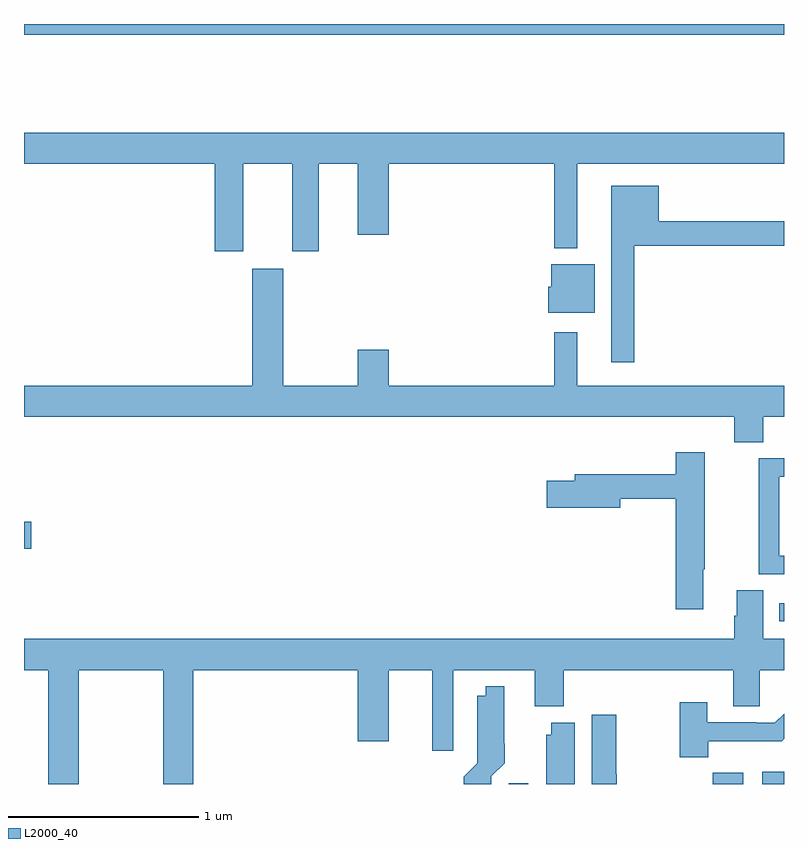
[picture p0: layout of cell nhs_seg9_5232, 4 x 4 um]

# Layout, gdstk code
import gdstk
lib = gdstk.Library(unit=1e-6, precision=1e-09)
def R(c, l, rs):  # rectangles x0, y0, x1, y1
    for r in rs: c.add(gdstk.rectangle(r[:2], r[2:], *l))
def P(c, l, *ps):  # polygons
    for p in ps: c.add(gdstk.Polygon(p, *l))
L2000_40 = (2000, 40)

nhs_seg9_5232 = lib.new_cell('nhs_seg9_5232')
R(nhs_seg9_5232, L2000_40, [(417.551,1182.5,417.655,1182.505), (418.624,1182.5,418.786,1182.559), (418.886,1182.5,419,1182.565), (418.976,1183.356,419,1183.452), (415,1183.738,415.039,1183.88), (415,1186.444,419,1186.5)])
P(nhs_seg9_5232, L2000_40, [(416.155,1185.764),(416.411,1185.764),(416.411,1185.303),(416.551,1185.303),(416.551,1185.764),(416.756,1185.764),(416.756,1185.39),(416.92,1185.39),(416.92,1185.764),(417.792,1185.764),(417.792,1185.32),(417.913,1185.32),(417.913,1185.764),(419,1185.764),(419,1185.928),(415,1185.928),(415,1185.764),(416.003,1185.764),(416.003,1185.303),(416.155,1185.303)],
  [(418.213,1185.334),(419,1185.334),(419,1185.463),(418.342,1185.463),(418.342,1185.649),(418.091,1185.649),(418.091,1184.721),(418.213,1184.721)],
  [(418.003,1185.235),(417.776,1185.235),(417.776,1185.117),(417.758,1185.117),(417.758,1184.981),(418.003,1184.981)],
  [(418.891,1184.432),(419,1184.432),(419,1184.596),(417.913,1184.596),(417.913,1184.878),(417.792,1184.878),(417.792,1184.596),(416.92,1184.596),(416.92,1184.785),(416.756,1184.785),(416.756,1184.596),(416.365,1184.596),(416.365,1185.211),(416.201,1185.211),(416.201,1184.596),(415,1184.596),(415,1184.432),(418.739,1184.432),(418.739,1184.299),(418.891,1184.299)],
  [(418.576,1183.631),(418.584,1183.631),(418.584,1184.245),(418.43,1184.245),(418.43,1184.131),(417.899,1184.131),(417.899,1184.097),(417.75,1184.097),(417.75,1183.955),(418.138,1183.955),(418.138,1184.002),(418.43,1184.002),(418.43,1183.419),(418.576,1183.419)],
  [(419,1183.701),(418.974,1183.701),(418.974,1184.118),(419,1184.118),(419,1184.214),(418.866,1184.214),(418.866,1183.605),(419,1183.605)],
  [(415.287,1183.1),(415.732,1183.1),(415.732,1182.5),(415.892,1182.5),(415.892,1183.1),(416.756,1183.1),(416.756,1182.726),(416.92,1182.726),(416.92,1183.1),(417.149,1183.1),(417.149,1182.675),(417.259,1182.675),(417.259,1183.1),(417.689,1183.1),(417.689,1182.908),(417.842,1182.908),(417.842,1183.1),(418.733,1183.1),(418.733,1182.91),(418.873,1182.91),(418.873,1183.1),(419,1183.1),(419,1183.264),(418.891,1183.264),(418.891,1183.52),(418.751,1183.52),(418.751,1183.386),(418.739,1183.386),(418.739,1183.264),(415,1183.264),(415,1183.1),(415.127,1183.1),(415.127,1182.5),(415.287,1182.5)],
  [(417.459,1182.54),(417.529,1182.61),(417.529,1182.712),(417.528,1182.712),(417.528,1183.015),(417.431,1183.015),(417.431,1182.964),(417.386,1182.964),(417.386,1182.61),(417.314,1182.538),(417.314,1182.5),(417.459,1182.5)],
  [(418.6,1182.726),(418.989,1182.726),(419,1182.737),(419,1182.87),(418.952,1182.822),(418.853,1182.822),(418.853,1182.825),(418.597,1182.825),(418.597,1182.931),(418.45,1182.931),(418.45,1182.641),(418.6,1182.641)],
  [(418.121,1182.552),(418.116,1182.552),(418.116,1182.865),(417.989,1182.865),(417.989,1182.5),(418.121,1182.5)],
  [(417.898,1182.823),(417.776,1182.823),(417.776,1182.759),(417.749,1182.759),(417.749,1182.5),(417.898,1182.5)])

lib.write_gds('nhs_seg9_5232.gds')
